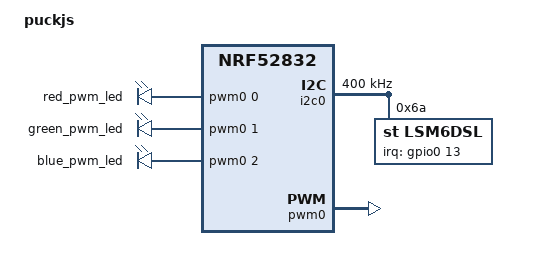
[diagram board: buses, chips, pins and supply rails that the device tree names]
/*
 * Copyright (c) 2025 Martin Pietryka
 *
 * SPDX-License-Identifier: Apache-2.0
 */

/dts-v1/;
#include <nordic/nrf52832_qfaa.dtsi>
#include "puckjs-pinctrl.dtsi"

/ {
	model = "puckjs";
	compatible = "mpi,puckjs";

	aliases {
		red-pwm-led = &red_pwm_led;
		green-pwm-led = &green_pwm_led;
		blue-pwm-led = &blue_pwm_led;
	};

	chosen {
		zephyr,console = &uart0;
		zephyr,shell-uart = &uart0;
		zephyr,sram = &sram0;
		zephyr,flash = &flash0;
		zephyr,code-partition = &slot0_partition;
	};

	pwmleds {
		compatible = "pwm-leds";

		red_pwm_led: pwm_led_0 {
			pwms = <&pwm0 0 PWM_MSEC(20) PWM_POLARITY_NORMAL>;
		};

		green_pwm_led: pwm_led_1 {
			pwms = <&pwm0 1 PWM_MSEC(20) PWM_POLARITY_NORMAL>;
		};

		blue_pwm_led: pwm_led_2 {
			pwms = <&pwm0 2 PWM_MSEC(20) PWM_POLARITY_NORMAL>;
		};
	};
};

&flash0 {
	partitions {
		compatible = "fixed-partitions";
		#address-cells = <1>;
		#size-cells = <1>;

		boot_partition: partition@0 {
			label = "mcuboot";
			reg = <0x00000000 0xc000>;
		};

		slot0_partition: partition@c000 {
			label = "image-0";
			reg = <0x0000c000 0x37000>;
		};

		slot1_partition: partition@43000 {
			label = "image-1";
			reg = <0x00043000 0x37000>;
		};

		storage_partition: partition@7a000 {
			label = "storage";
			reg = <0x0007a000 0x00006000>;
		};
	};
};

&gpio0 {
	status = "okay";
};

&gpiote {
	status = "okay";
};

&i2c0 {
	status = "okay";
	pinctrl-0 = <&i2c_gyro_default>;
	pinctrl-1 = <&i2c_gyro_sleep>;
	pinctrl-names = "default", "sleep";

	clock-frequency = <I2C_BITRATE_FAST>;

	lsm6dsl: lsm6dsl@6a {
		compatible = "st,lsm6dsl";
		reg = <0x6a>;
		irq-gpios = <&gpio0 13 GPIO_ACTIVE_HIGH>;
	};
};

&pwm0 {
	status = "okay";
	pinctrl-0 = <&pwm0_default>;
	pinctrl-1 = <&pwm0_sleep>;
	pinctrl-names = "default", "sleep";
};
